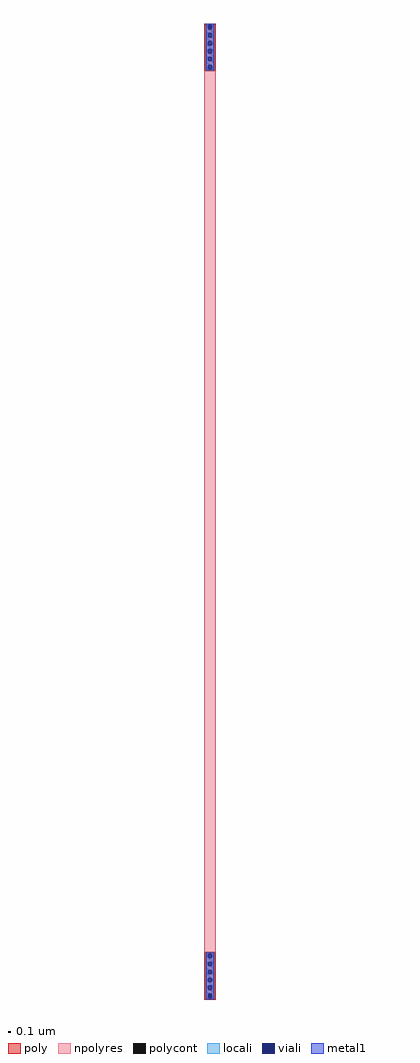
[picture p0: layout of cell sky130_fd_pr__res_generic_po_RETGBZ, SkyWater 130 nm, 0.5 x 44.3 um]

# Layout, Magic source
magic
tech sky130A
magscale 1 2
<< poly >>
rect -50 4414 50 4430
rect -50 4380 -17 4414
rect 17 4380 50 4414
rect -50 4000 50 4380
rect -50 -4380 50 -4000
rect -50 -4414 -17 -4380
rect 17 -4414 50 -4380
rect -50 -4430 50 -4414
<< polycont >>
rect -17 4380 17 4414
rect -17 -4414 17 -4380
<< npolyres >>
rect -50 -4000 50 4000
<< locali >>
rect -40 4380 -17 4414
rect 17 4380 40 4414
rect -34 4378 -17 4380
rect 17 4378 34 4380
rect -34 4340 34 4378
rect -34 4306 -17 4340
rect 17 4306 34 4340
rect -34 4268 34 4306
rect -34 4234 -17 4268
rect 17 4234 34 4268
rect -34 4196 34 4234
rect -34 4162 -17 4196
rect 17 4162 34 4196
rect -34 4124 34 4162
rect -34 4090 -17 4124
rect 17 4090 34 4124
rect -34 4052 34 4090
rect -34 4018 -17 4052
rect 17 4018 34 4052
rect -34 4017 34 4018
rect -34 -4019 34 -4017
rect -34 -4053 -17 -4019
rect 17 -4053 34 -4019
rect -34 -4091 34 -4053
rect -34 -4125 -17 -4091
rect 17 -4125 34 -4091
rect -34 -4163 34 -4125
rect -34 -4197 -17 -4163
rect 17 -4197 34 -4163
rect -34 -4235 34 -4197
rect -34 -4269 -17 -4235
rect 17 -4269 34 -4235
rect -34 -4307 34 -4269
rect -34 -4341 -17 -4307
rect 17 -4341 34 -4307
rect -34 -4379 34 -4341
rect -34 -4380 -17 -4379
rect 17 -4380 34 -4379
rect -40 -4414 -17 -4380
rect 17 -4414 40 -4380
<< viali >>
rect -17 4380 17 4412
rect -17 4378 17 4380
rect -17 4306 17 4340
rect -17 4234 17 4268
rect -17 4162 17 4196
rect -17 4090 17 4124
rect -17 4018 17 4052
rect -17 -4053 17 -4019
rect -17 -4125 17 -4091
rect -17 -4197 17 -4163
rect -17 -4269 17 -4235
rect -17 -4341 17 -4307
rect -17 -4380 17 -4379
rect -17 -4413 17 -4380
<< metal1 >>
rect -40 4412 40 4426
rect -40 4378 -17 4412
rect 17 4378 40 4412
rect -40 4340 40 4378
rect -40 4306 -17 4340
rect 17 4306 40 4340
rect -40 4268 40 4306
rect -40 4234 -17 4268
rect 17 4234 40 4268
rect -40 4196 40 4234
rect -40 4162 -17 4196
rect 17 4162 40 4196
rect -40 4124 40 4162
rect -40 4090 -17 4124
rect 17 4090 40 4124
rect -40 4052 40 4090
rect -40 4018 -17 4052
rect 17 4018 40 4052
rect -40 4005 40 4018
rect -40 -4019 40 -4005
rect -40 -4053 -17 -4019
rect 17 -4053 40 -4019
rect -40 -4091 40 -4053
rect -40 -4125 -17 -4091
rect 17 -4125 40 -4091
rect -40 -4163 40 -4125
rect -40 -4197 -17 -4163
rect 17 -4197 40 -4163
rect -40 -4235 40 -4197
rect -40 -4269 -17 -4235
rect 17 -4269 40 -4235
rect -40 -4307 40 -4269
rect -40 -4341 -17 -4307
rect 17 -4341 40 -4307
rect -40 -4379 40 -4341
rect -40 -4413 -17 -4379
rect 17 -4413 40 -4379
rect -40 -4426 40 -4413
<< end >>
